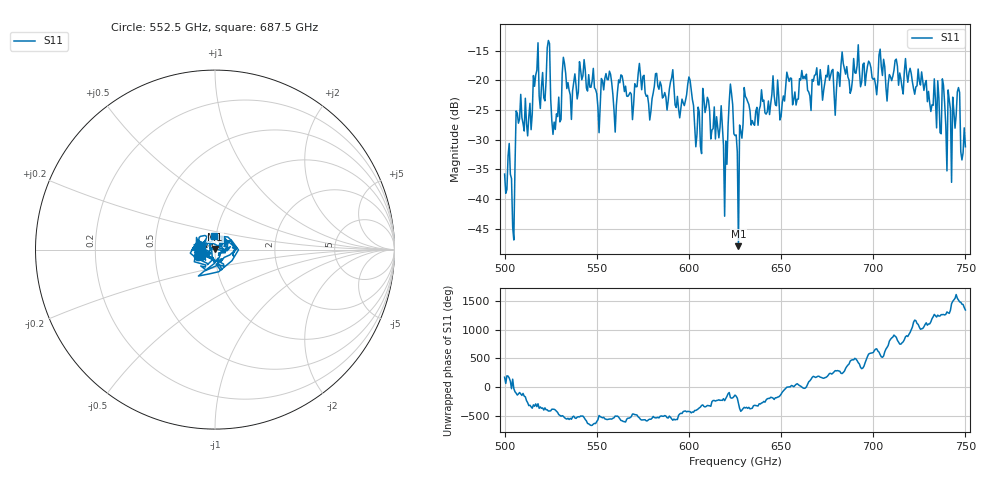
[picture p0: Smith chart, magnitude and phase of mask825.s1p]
!Created with skrf (http://scikit-rf.org).
# GHz S MA R 50.0
!freq magS11 angS11
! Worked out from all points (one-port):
!   401 points, 500 GHz to 750 GHz, reference 50 ohm
!   lowest |S11| = -48.0 dB at 626.9 GHz (marker M1), VSWR 1.01, Z = 50.1 + j0.393 ohm
!   |S11| at or under -10 dB: start of sweep to end of sweep
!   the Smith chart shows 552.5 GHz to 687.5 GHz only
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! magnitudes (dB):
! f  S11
! 500 GHz  -35.8
! 504.4 GHz  -44.7
! 507.5 GHz  -27.2
! 513.8 GHz  -23.9
! 516.9 GHz  -19.1
! 520.6 GHz  -18.7
! 523.8 GHz  -13.3
! 526.9 GHz  -27.0
! 531.2 GHz  -18.8
! 550.6 GHz  -24.5
! 556.2 GHz  -19.9
! 560 GHz  -28.7
! 562.5 GHz  -20.4
! 593.8 GHz  -22.7
! 600.6 GHz  -20.0
! 605.6 GHz  -25.4
! 608.8 GHz  -25.4
! 619.4 GHz  -42.9
! 622.5 GHz  -20.6
! 625 GHz  -29.3
! 626.9 GHz  -48.0
! 631.2 GHz  -23.0
! 656.2 GHz  -24.1
! 687.5 GHz  -22.2
! 718.8 GHz  -20.3
! 741.2 GHz  -23.3
! 745.6 GHz  -21.9
! 750 GHz  -31.2
